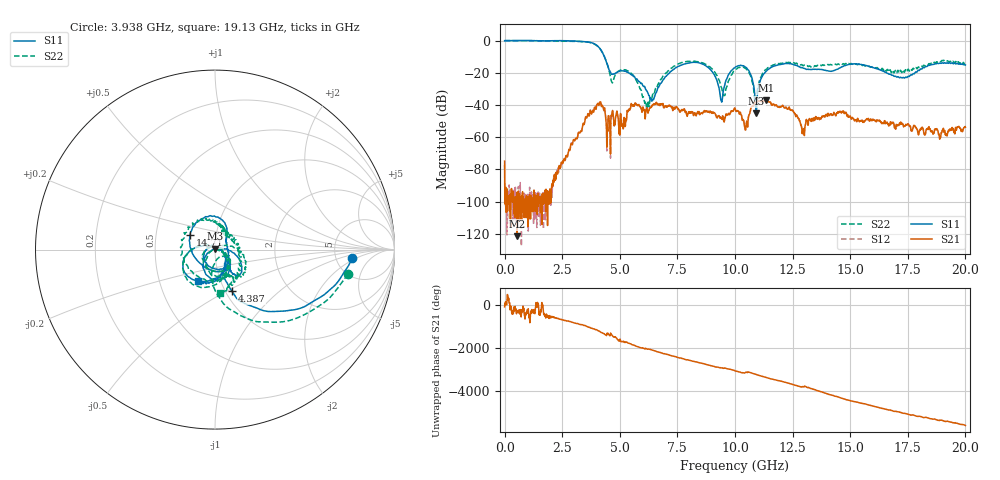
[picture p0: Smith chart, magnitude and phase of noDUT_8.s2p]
#  HZ  S  RI  R  50.00
! Rohde & Schwarz Vector Network Analyzer
! Rohde-Schwarz,ZNB20-2Port,1311601062102128,3.60
! Created: UTC 4/29/2024, 3:50:09 PM
! freq[Hz]  re:S11  im:S11  re:S21  im:S21  re:S12  im:S12  re:S22  im:S22
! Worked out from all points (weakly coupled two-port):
!   2007 points, 100 kHz to 20 GHz, reference 50 ohm
!   highest |S21| = -37.08 dB at 11.34 GHz (marker M1); lowest = -121.5 dB at 538.5 MHz (marker M2)
!   lowest |S11| = -45.2 dB at 10.93 GHz (marker M3), VSWR 1.01, Z = 50.1 + j0.537 ohm
!   |S11| at or under -10 dB: 4.333 GHz to end of sweep
!   |S22| runs from -42.7 to 0.1 dB; largest |S21 - S12| = 0.00083
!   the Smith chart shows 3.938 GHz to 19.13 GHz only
!   S11 on the Smith chart (normalised r, x): 3.938 GHz: 7.19, -1.61; 4.387 GHz: 1.07, -0.53; 14.71 GHz: 0.75, +0.13; 19.13 GHz: 0.78, -0.29
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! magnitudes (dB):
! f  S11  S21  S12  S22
! 100 kHz  0.0  -74.9  -77.2  0.1
! 538.5 MHz  0.0  -121.5  -115.1  0.0
! 2.333 GHz  0.0  -79.9  -78.8  -0.3
! 3.34 GHz  -0.6  -56.5  -56.1  -0.6
! 3.938 GHz  -2.3  -41.4  -40.9  -2.5
! 4.387 GHz  -12.1  -47.7  -47.5  -11.8
! 4.666 GHz  -20.9  -44.5  -44.6  -25.9
! 5.533 GHz  -21.4  -40.2  -40.2  -21.0
! 6.182 GHz  -31.3  -42.6  -42.6  -42.7
! 6.67 GHz  -28.9  -39.4  -39.4  -26.6
! 8.345 GHz  -13.5  -45.0  -44.9  -13.0
! 9.422 GHz  -38.2  -48.6  -48.5  -29.5
! 10 GHz  -16.7  -42.1  -42.1  -18.4
! 10.47 GHz  -16.5  -54.4  -54.5  -17.3
! 10.93 GHz  -45.2  -38.5  -38.5  -38.0
! 11.34 GHz  -19.2  -37.1  -37.2  -18.0
! 12.94 GHz  -16.9  -55.9  -55.9  -15.5
! 13.34 GHz  -17.9  -48.4  -48.4  -15.8
! 14.71 GHz  -15.9  -43.9  -43.6  -14.3
! 16.67 GHz  -20.7  -52.9  -53.0  -19.4
! 19.13 GHz  -14.0  -58.5  -58.5  -12.2
! 20 GHz  -15.2  -53.8  -53.8  -14.4
